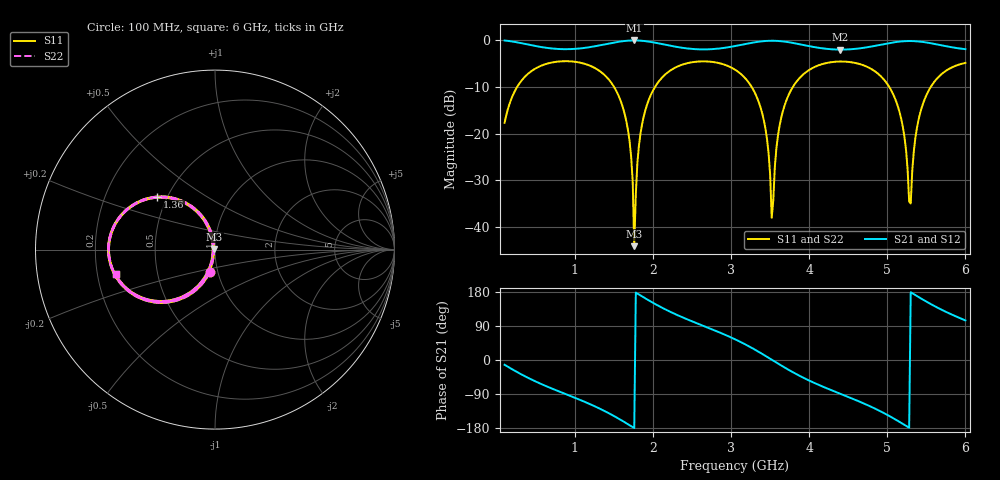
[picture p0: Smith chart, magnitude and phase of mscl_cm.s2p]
! Sonnet Data File
! From: sonnet Version : 18.53-Lite
! From Emgraph Data:
! Data File Written: 09/16/2023 12:22:03
!< HDATE 09/16/2023 12:20:47
!< MDATE 09/16/2023 12:20:47
# GHZ S MA R 50.00000
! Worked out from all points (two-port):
!   296 points, 100 MHz to 6 GHz, reference 50 ohm
!   highest |S21| = -0.07 dB at 1.76 GHz (marker M1); lowest = -2.0 dB at 4.4 GHz (marker M2)
!   |S21| within 3 dB of the highest: start of sweep to end of sweep
!   lowest |S11| = -44.1 dB at 1.76 GHz (marker M3), VSWR 1.01, Z = 49.5 + j0.422 ohm
!   |S11| at or under -10 dB: 1.501 GHz to 2.027 GHz (525.6 MHz wide, 29.8 % of centre); 3.263 GHz to 3.792 GHz (529.2 MHz wide, 15 % of centre); 5.024 GHz to 5.557 GHz (532.7 MHz wide, 10.1 % of centre)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
!   |S22| runs from -44.1 to -4.5 dB; largest |S21 - S12| = 1.5e-12
!   S11 on the Smith chart (normalised r, x): 100 MHz: 0.91, -0.24; 1.36 GHz: 0.44, +0.32; 6 GHz: 0.28, -0.11
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0.1  0.1307 -102.9  0.9908 -12.6  0.9908 -12.6  0.1307 -102.9
0.42  0.451 -139.4  0.8906 -49.1  0.8906 -49.1  0.451 -139.4
1.1  0.5656 161.7  0.8213 -108.2  0.8213 -108.2  0.5656 161.7
1.36  0.4381 137.6  0.8942 -132.6  0.8942 -132.6  0.4382 137.6
1.68  0.1087 102.6  0.987 -169.5  0.987 -169.5  0.1087 102.6
1.74  0.03091 101.2  0.992 -177.1  0.992 -177.1  0.03093 101.2
1.76  0.006256 137.2  0.9923 -179.6  0.9923 -179.6  0.006252 137.1
1.84  0.1003 -102.6  0.9868 170.3  0.9868 170.3  0.1003 -102.5
2.08  0.367 -129.0  0.9213 141.8  0.9213 141.8  0.367 -129.0
3.06  0.4778 144.1  0.8675 53.7  0.8675 53.7  0.4778 144.1
3.4  0.1628 108.6  0.9727 15.9  0.9727 15.9  0.1628 108.7
3.48  0.06184 103.7  0.9836 5.9  0.9836 5.9  0.06185 103.8
3.52  0.01258 134.5  0.9852 0.8  0.9852 0.8  0.01263 134.8
3.66  0.1701 -109.8  0.9701 -16.7  0.9701 -16.7  0.1701 -109.8
4.04  0.502 -148.9  0.8499 -58.1  0.8499 -58.1  0.502 -148.9
4.4  0.5907 -179.4  0.7922 -89.3  0.7922 -89.3  0.5907 -179.4
5.02  0.3208 124.6  0.9283 -147.1  0.9283 -147.1  0.3208 124.6
5.2  0.117 107.3  0.9724 -168.6  0.9724 -168.6  0.117 107.2
5.3  0.01791 -137.8  0.9783 178.8  0.9783 178.8  0.01766 -137.0
5.36  0.09064 -107.2  0.9741 171.2  0.9741 171.2  0.0906 -106.9
5.48  0.235 -116.7  0.9501 156.5  0.9501 156.5  0.235 -116.6
6  0.5705 -166.1  0.8012 104.4  0.8012 104.4  0.5705 -166.1
